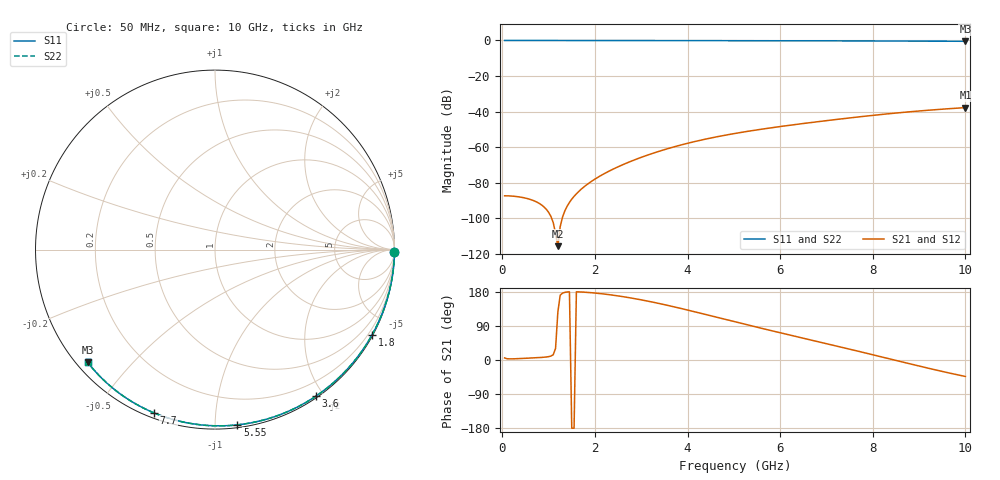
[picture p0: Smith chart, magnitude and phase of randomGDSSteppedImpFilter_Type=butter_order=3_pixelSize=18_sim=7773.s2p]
! freq	dB(S11)	phase(S11)	dB(S12)	phase(S12)
!  dB(S21)	phase(S21)	dB(S22)	phase(S22)
!S-par simulation data
#  GHz  S  DB  R 50
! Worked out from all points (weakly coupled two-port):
!   200 points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, 50 MHz to 10 GHz, reference 50 ohm
!   highest |S21| = -37.80 dB at 10 GHz (marker M1); lowest = -115.8 dB at 1.2 GHz (marker M2)
!   lowest |S11| = -0.5 dB at 10 GHz (marker M3), VSWR 37.11, Z = 1.54 - j19 ohm
!   |S11| at or under -10 dB: nowhere
!   |S22| runs from -0.5 to 0.0 dB; largest |S21 - S12| = 0
!   S11 on the Smith chart (normalised r, x): 50 MHz: open; 1.8 GHz: 0.03, -3.95; 3.6 GHz: 0.02, -1.90; 5.55 GHz: 0.02, -1.14; 7.7 GHz: 0.02, -0.69; 10 GHz: 0.03, -0.38
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0.05  -0.00 -0.8  -87.42 5.5  -87.42 5.5  -0.00 -0.8
0.6  -0.01 -9.6  -89.43 5.1  -89.43 5.1  -0.01 -9.6
1.2  -0.02 -19.0  -115.77 126.7  -115.77 126.7  -0.02 -19.0
1.75  -0.04 -27.6  -82.69 179.2  -82.69 179.2  -0.04 -27.6
1.8  -0.04 -28.4  -81.65 178.8  -81.65 178.8  -0.04 -28.4
1.9  -0.04 -29.9  -79.75 177.8  -79.75 177.8  -0.04 -29.9
2.05  -0.04 -32.2  -77.22 176.1  -77.22 176.1  -0.04 -32.2
2.25  -0.05 -35.3  -74.28 173.3  -74.28 173.3  -0.05 -35.3
2.65  -0.05 -41.4  -69.37 166.3  -69.37 166.3  -0.05 -41.4
3  -0.06 -46.6  -65.78 158.8  -65.78 158.8  -0.06 -46.6
3.4  -0.07 -52.5  -62.25 148.8  -62.25 148.8  -0.07 -52.5
3.6  -0.07 -55.5  -60.68 143.4  -60.68 143.4  -0.07 -55.5
3.9  -0.08 -59.8  -58.54 134.8  -58.54 134.8  -0.08 -59.8
4.3  -0.09 -65.5  -56.03 122.9  -56.03 122.9  -0.09 -65.5
5.05  -0.12 -76.0  -52.22 100.0  -52.22 100.0  -0.12 -75.9
5.55  -0.14 -82.7  -50.13 85.1  -50.13 85.1  -0.14 -82.7
6.1  -0.16 -90.0  -48.10 69.0  -48.10 69.0  -0.16 -90.0
6.7  -0.19 -97.8  -46.08 51.7  -46.08 51.7  -0.19 -97.8
7.7  -0.25 -110.4  -43.01 22.8  -43.01 22.8  -0.25 -110.4
8.35  -0.30 -118.5  -41.23 3.4  -41.23 3.4  -0.30 -118.4
9.2  -0.38 -128.8  -39.26 -21.7  -39.26 -21.7  -0.38 -128.8
10  -0.47 -138.4  -37.80 -43.4  -37.80 -43.4  -0.47 -138.4
